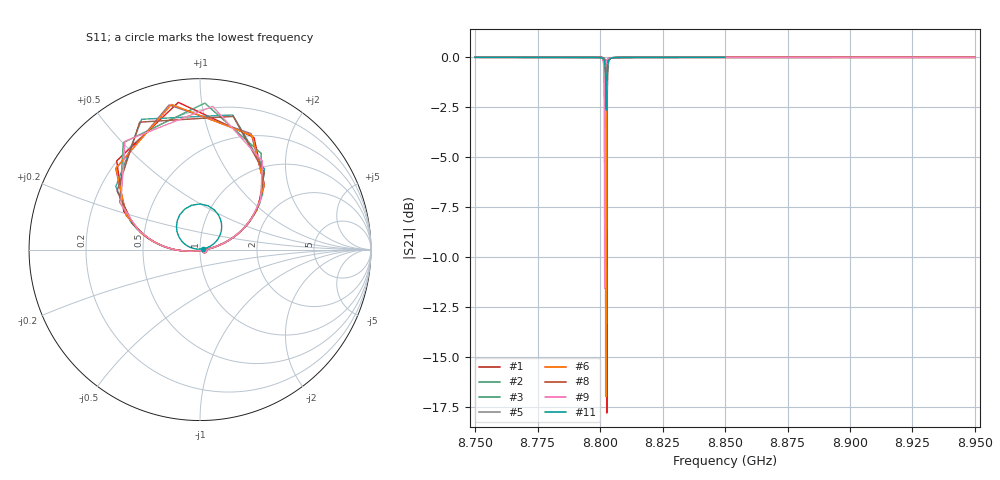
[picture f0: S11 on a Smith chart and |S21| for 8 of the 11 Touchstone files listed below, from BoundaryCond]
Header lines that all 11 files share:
! Sonnet Data File
! From: emgraph Version : 16.52
!< PARAMS
!< END PARAMS
# GHZ S MA R 50.90000
Fixed: Lj = 11.0, Pwid = 2000.0, Width = 10.0
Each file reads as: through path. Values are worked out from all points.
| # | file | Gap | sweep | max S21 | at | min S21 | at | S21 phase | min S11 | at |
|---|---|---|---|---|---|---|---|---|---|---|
| 1 | Xmon_fullysym_variL_param12.s2p | 1.0 | 8.75 GHz to 8.95 GHz | 0.00 dB | 8.7963 GHz | -17.8 dB | 8.8027 GHz | -81 deg at 8.85 GHz | -45.4 dB | 8.7978 GHz |
| 2 | Xmon_fullysym_variL_param13.s2p | 1.0 | 8.75 GHz to 8.95 GHz | 0.00 dB | 8.7963 GHz | -10.5 dB | 8.8026 GHz | -81 deg at 8.85 GHz | -45.4 dB | 8.7977 GHz |
| 3 | Xmon_fullysym_variL_param14.s2p | 1.0 | 8.75 GHz to 8.95 GHz | 0.00 dB | 8.7962 GHz | -13.3 dB | 8.8026 GHz | -81 deg at 8.85 GHz | -45.4 dB | 8.7977 GHz |
| 4 | Xmon_fullysym_variL_param15.s2p | 1.0 | 8.75 GHz to 8.95 GHz | 0.00 dB | 8.7962 GHz | -17.6 dB | 8.8025 GHz | -81 deg at 8.85 GHz | -45.4 dB | 8.7976 GHz |
| 5 | Xmon_fullysym_variL_param16.s2p | 1.0 | 8.75 GHz to 8.95 GHz | 0.00 dB | 8.7961 GHz | -16.6 dB | 8.8024 GHz | -81 deg at 8.85 GHz | -45.4 dB | 8.7976 GHz |
| 6 | Xmon_fullysym_variL_param17.s2p | 1.0 | 8.75 GHz to 8.95 GHz | 0.00 dB | 8.796 GHz | -17.0 dB | 8.8023 GHz | -81 deg at 8.85 GHz | -45.4 dB | 8.7975 GHz |
| 7 | Xmon_fullysym_variL_param18.s2p | 1.0 | 8.75 GHz to 8.95 GHz | 0.00 dB | 8.796 GHz | -15.8 dB | 8.8022 GHz | -81 deg at 8.85 GHz | -45.4 dB | 8.7974 GHz |
| 8 | Xmon_fullysym_variL_param19.s2p | 1.0 | 8.75 GHz to 8.95 GHz | 0.00 dB | 8.7959 GHz | -9.9 dB | 8.802 GHz | -81 deg at 8.85 GHz | -45.4 dB | 8.7973 GHz |
| 9 | Xmon_fullysym_variL_param20.s2p | 1.0 | 8.75 GHz to 8.95 GHz | 0.00 dB | 8.7958 GHz | -11.6 dB | 8.8019 GHz | -81 deg at 8.85 GHz | -45.4 dB | 8.7972 GHz |
| 10 | Xmon_fullysym_variL_param21.s2p | 1.0 | 8.75 GHz to 8.95 GHz | 0.00 dB | 8.7956 GHz | -8.7 dB | 8.8017 GHz | -81 deg at 8.85 GHz | -45.4 dB | 8.7971 GHz |
| 11 | Xmon_lossy_5e_5.s2p | 6.0 | 8.75 GHz to 8.85 GHz | 0.00 dB | 8.78 GHz | -2.6 dB | 8.8025 GHz | -82 deg at 8.8 GHz | -51.2 dB | 8.7991 GHz |
